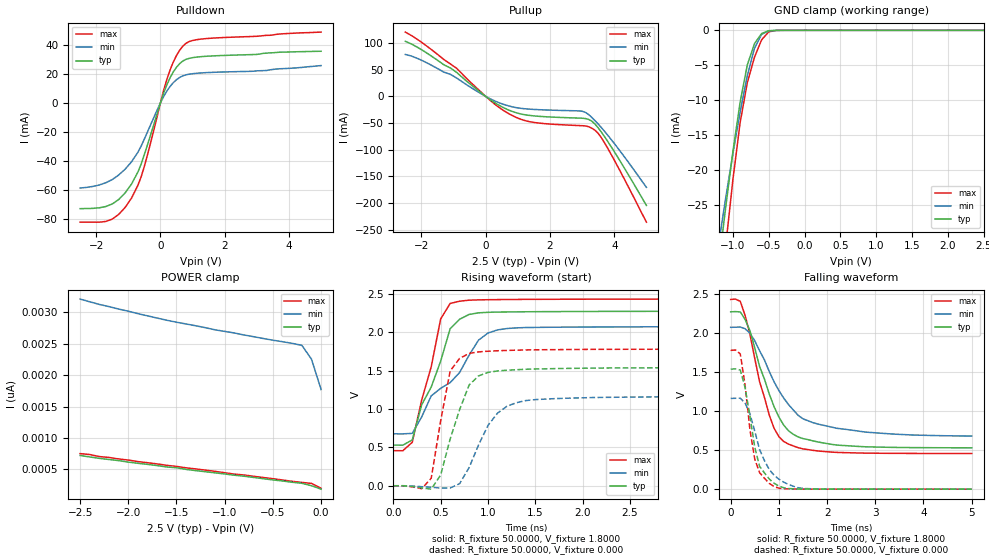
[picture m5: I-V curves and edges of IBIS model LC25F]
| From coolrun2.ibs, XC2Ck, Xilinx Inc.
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|   Model LC25F
[Model]   LC25F
Model_type   I/O
Polarity   Inverting
Enable   Active-High
Vinl =   0.7000V
Vinh =   1.7000V
Vmeas =  1.2500V
Cref =  35.0000pF
Rref =  94.000
Vref =  1.25000V
C_comp   1.4810pF   0.9482pF   2.0140pF
[Temperature Range]   25.0000   100.0000   0.000
[Voltage Range]   2.5000V   2.4000V   2.6000V
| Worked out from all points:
|   slope of the pulldown table from 0 to 0.375 V, typ, clamps not added: 18.5 ohm
|   slope of the pullup table from 0 to 0.375 V, typ, clamps not added: 24.6 ohm
|   GND clamp passes 1 mA (typ) near -0.64 V on its own axis
|   rising waveform, R_fixture 50.0000, V_fixture 1.8000: 20-80 % time 310ps typ, 526ps min, 226ps max; typ from 0.531 V to 2.28 V
|   rising waveform, R_fixture 50.0000, V_fixture 0.000: 20-80 % time 239ps typ, 292ps min, 155ps max; typ from 0 V to 1.54 V
|   falling waveform, R_fixture 50.0000, V_fixture 1.8000: 20-80 % time 596ps typ, 797ps min, 479ps max; typ from 2.28 V to 0.531 V
|   falling waveform, R_fixture 50.0000, V_fixture 0.000: 20-80 % time 275ps typ, 411ps min, 240ps max; typ from 1.54 V to 0 V
[Pulldown]
| voltage   I(typ)   I(min)   I(max)
-2.5V     -72.7mA    -58.5mA    -82mA
-1.5V     -69.49mA   -52.7mA    -79.89mA
-1.1V     -61.91mA   -45.58mA   -71.93mA
-900mV    -55.79mA   -40.51mA   -65.46mA
-700mV    -47.49mA   -33.88mA   -56.62mA
-500mV    -35.5mA    -24.82mA   -43.63mA
100mV     6.708mA    4.397mA    8.665mA
300mV     17.31mA    11.32mA    22.64mA
500mV     24.55mA    15.99mA    32.62mA
800mV     29.99mA    19.33mA    41.08mA
1.4V      32.04mA    20.8mA     44.2mA
5V        35.53mA    25.68mA    48.71mA
[Pullup]
| voltage   I(typ)   I(min)   I(max)
-2.5V     103.3mA    78.67mA    120.6mA
-2.1V     91.31mA    70.64mA    105.9mA
-900mV    44.75mA    34.31mA    52.4mA
100mV     -4.467mA   -3.231mA   -5.434mA
800mV     -27.64mA   -19.19mA   -35.11mA
1.5V      -36.57mA   -24.43mA   -48.8mA
3V        -40.91mA   -27.8mA    -54.92mA
3.2V      -43.14mA   -33.98mA   -56.74mA
3.4V      -51.86mA   -45.32mA   -63.4mA
3.6V      -67.16mA   -58.59mA   -77.63mA
3.8V      -84.75mA   -72.97mA   -97.64mA
5V        -204.5mA   -170.6mA   -235.9mA
[GND_clamp]
| voltage   I(typ)   I(min)   I(max)
-2.5V     -159.3mA   -132.2mA   -186.8mA
-1.2V     -33.66mA   -30.6mA    -40.86mA
-1.1V     -25.24mA   -23.93mA   -30.77mA
-1V       -17.33mA   -17.6mA    -21.32mA
-900mV    -10.3mA    -11.71mA   -13.24mA
-800mV    -4.969mA   -6.517mA   -7.512mA
-700mV    -1.912mA   -2.587mA   -3.865mA
-600mV    -461.7uA   -562.4uA   -1.358mA
-500mV    -51.63uA   -96.01uA   -215.1uA
-400mV    -3.51uA    -19.18uA   -14.58uA
2.5V      186.8pA    4.609nA    180.4pA
[POWER_clamp]
| voltage   I(typ)   I(min)   I(max)
-2.5V     722.4pA    3.209nA    752.3pA
-2.4V     699.3pA    3.166nA    737.6pA
-2.3V     676.4pA    3.124nA    705pA
-2.2V     658.3pA    3.089nA    691.7pA
-1.6V     539.3pA    2.872nA    565.9pA
-1.5V     527.5pA    2.841nA    549.1pA
-1.4V     501.3pA    2.813nA    525.7pA
-1.1V     446.3pA    2.72nA     470pA
-900mV    408.7pA    2.67nA     426.1pA
-200mV    280.4pA    2.474nA    294.3pA
-100mV    241.4pA    2.254nA    278.6pA
0V        186.9pA    1.771nA    200.9pA
[Ramp]
| variable   typ   min   max
dV/dt_r   0.9246/0.1948n   0.6990/0.2886n   1.0692/0.1458n
dV/dt_f   0.9272/0.8340n   0.6180/1.1121n   1.1543/0.6055n
R_load = 50.0000
[Rising Waveform]
R_fixture = 50.0000
V_fixture = 1.8000
V_fixture_min = 1.6000
V_fixture_max = 2.0000
L_fixture = 0.000H
C_fixture = 0.000F
| time   V(typ)   V(min)   V(max)
0s        530.7mV    677.8mV    458.1mV
100ps     529.1mV    676.9mV    456.7mV
200ps     597.9mV    683.6mV    566.8mV
300ps     1.058V     899.4mV    1.12V
400ps     1.287V     1.173V     1.551V
500ps     1.626V     1.271V     2.176V
600ps     2.049V     1.346V     2.379V
900ps     2.256V     1.9V       2.425V
1.2ns     2.268V     2.051V     2.43V
5ns       2.277V     2.077V     2.436V
[Rising Waveform]
R_fixture = 50.0000
V_fixture = 0.000
V_fixture_min = 0.000
V_fixture_max = 0.000
L_fixture = 0.000H
C_fixture = 0.000F
| time   V(typ)   V(min)   V(max)
0s        0V         0V         0V
300ps     -28.65mV   -12.82mV   -38.93mV
400ps     -44.6mV    -19.42mV   98.24mV
500ps     139.5mV    -30.58mV   847.2mV
600ps     609.2mV    -29.15mV   1.497V
800ps     1.313V     236.6mV    1.727V
1ns       1.479V     787.5mV    1.756V
1.1ns     1.498V     946.8mV    1.762V
1.4ns     1.52V      1.112V     1.772V
5ns       1.541V     1.165V     1.782V
[Falling Waveform]
R_fixture = 50.0000
V_fixture = 1.8000
V_fixture_min = 1.6000
V_fixture_max = 2.0000
L_fixture = 0.000H
C_fixture = 0.000F
| time   V(typ)   V(min)   V(max)
0s        2.277V     2.078V     2.436V
200ps     2.276V     2.082V     2.412V
400ps     2.035V     2.003V     1.99V
600ps     1.575V     1.777V     1.379V
800ps     1.224V     1.512V     952.8mV
900ps     1.06V      1.379V     782.8mV
1.1ns     822.6mV    1.17V      612.6mV
1.5ns     649.6mV    903.5mV    517.4mV
2.2ns     566.5mV    781.9mV    472.1mV
5ns       531.1mV    681.9mV    458.2mV
[Falling Waveform]
R_fixture = 50.0000
V_fixture = 0.000
V_fixture_min = 0.000
V_fixture_max = 0.000
L_fixture = 0.000H
C_fixture = 0.000F
| time   V(typ)   V(min)   V(max)
0s        1.541V     1.165V     1.782V
200ps     1.53V      1.167V     1.736V
300ps     1.302V     1.105V     1.331V
400ps     936.2mV    966mV      762.7mV
500ps     537.5mV    743.7mV    385.5mV
600ps     292.5mV    508.6mV    212.1mV
800ps     130.5mV    252.1mV    74.15mV
900ps     76.29mV    179.2mV    33.8mV
1.5ns     2.157mV    9.675mV    1.032mV
5ns       4.986uV    30.63uV    1.214uV
